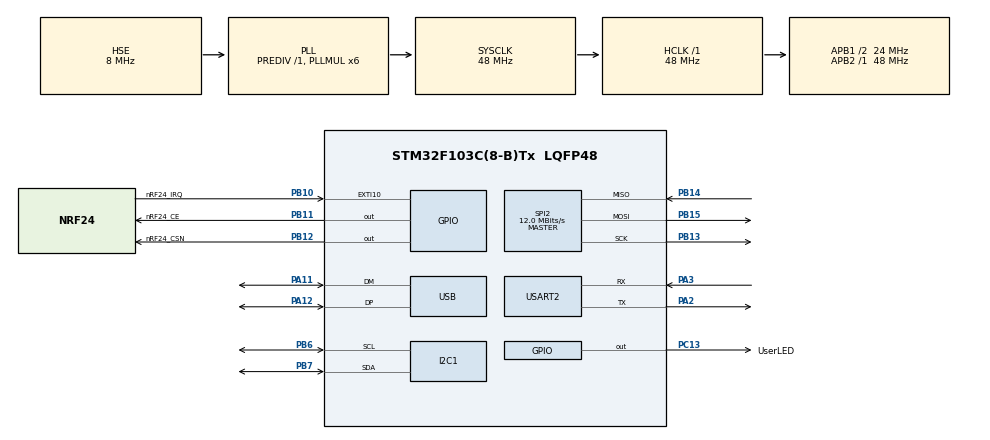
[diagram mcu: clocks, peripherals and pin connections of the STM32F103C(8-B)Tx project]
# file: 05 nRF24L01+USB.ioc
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Mcu.Family=STM32F1
Mcu.Name=STM32F103C(8-B)Tx
Mcu.Package=LQFP48
NVIC.EXTI15_10_IRQn=true\:0\:0\:false\:false\:true\:true\:true\:true
NVIC.PriorityGroup=NVIC_PRIORITYGROUP_4
NVIC.USB_LP_CAN1_RX0_IRQn=true\:0\:0\:false\:false\:true\:true\:true\:true
PA11.Mode=Device
PA11.Signal=USB_DM
PA12.Mode=Device
PA12.Signal=USB_DP
PA13.Mode=Serial_Wire
PA13.Signal=SYS_JTMS-SWDIO
PA14.Mode=Serial_Wire
PA14.Signal=SYS_JTCK-SWCLK
PA2.Mode=Asynchronous
PA2.Signal=USART2_TX
PA3.Mode=Asynchronous
PA3.Signal=USART2_RX
PB10.GPIO_Label=nRF24_IRQ
PB10.GPIO_ModeDefaultEXTI=GPIO_MODE_IT_FALLING
PB10.Signal=GPXTI10
PB11.GPIO_Label=nRF24_CE
PB11.GPIO_Speed=GPIO_SPEED_FREQ_HIGH
PB11.Signal=GPIO_Output
PB12.GPIO_Label=nRF24_CSN
PB12.GPIO_Speed=GPIO_SPEED_FREQ_HIGH
PB12.PinState=GPIO_PIN_SET
PB12.Signal=GPIO_Output
PB13.Mode=Full_Duplex_Master
PB13.Signal=SPI2_SCK
PB14.Mode=Full_Duplex_Master
PB14.Signal=SPI2_MISO
PB15.Mode=Full_Duplex_Master
PB15.Signal=SPI2_MOSI
PB6.GPIO_Pu=GPIO_PULLUP
PB6.Mode=I2C
PB6.Signal=I2C1_SCL
PB7.GPIO_Pu=GPIO_PULLUP
PB7.Mode=I2C
PB7.Signal=I2C1_SDA
PC13-TAMPER-RTC.GPIO_Label=UserLED
PC13-TAMPER-RTC.GPIO_Speed=GPIO_SPEED_FREQ_LOW
PC13-TAMPER-RTC.PinState=GPIO_PIN_SET
PC13-TAMPER-RTC.Signal=GPIO_Output
PD0-OSC_IN.Mode=HSE-External-Oscillator
PD0-OSC_IN.Signal=RCC_OSC_IN
PD1-OSC_OUT.Mode=HSE-External-Oscillator
PD1-OSC_OUT.Signal=RCC_OSC_OUT
ProjectManager.HeapSize=0x200
ProjectManager.StackSize=0x400
ProjectManager.TargetToolchain=STM32CubeIDE
RCC.AHBFreq_Value=48000000
RCC.APB1CLKDivider=RCC_HCLK_DIV2
RCC.APB1Freq_Value=24000000
RCC.APB1TimFreq_Value=48000000
RCC.APB2Freq_Value=48000000
RCC.APB2TimFreq_Value=48000000
RCC.HCLKFreq_Value=48000000
RCC.PLLMUL=RCC_PLL_MUL6
RCC.PLLSourceVirtual=RCC_PLLSOURCE_HSE
RCC.SYSCLKFreq_VALUE=48000000
RCC.SYSCLKSource=RCC_SYSCLKSOURCE_PLLCLK
RCC.USBFreq_Value=48000000
SPI2.BaudRatePrescaler=SPI_BAUDRATEPRESCALER_2
SPI2.CRCCalculation=SPI_CRCCALCULATION_DISABLE
SPI2.CalculateBaudRate=12.0 MBits/s
SPI2.Direction=SPI_DIRECTION_2LINES
SPI2.Mode=SPI_MODE_MASTER
SPI2.VirtualType=VM_MASTER
USART2.VirtualMode=VM_ASYNC
USB.ep0_mps=DEP0CTL_MPS_32
USB_DEVICE.CLASS_NAME_FS=CDC
USB_DEVICE.USBD_DEBUG_LEVEL=3
USB_DEVICE.VirtualMode=Cdc
USB_DEVICE.VirtualModeFS=Cdc_FS
VP_USB_DEVICE_VS_USB_DEVICE_CDC_FS.Mode=CDC_FS
board=nRF24L01WithUSB

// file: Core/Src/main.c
/* USER CODE BEGIN Header */
/**
  ******************************************************************************
  * @file           : main.c
  * @brief          : Main program body
  ******************************************************************************
  * @attention
  *
  * Copyright (c) 2025 STMicroelectronics.
  * All rights reserved.
  *
  * This software is licensed under terms that can be found in the LICENSE file
  * in the root directory of this software component.
  * If no LICENSE file comes with this software, it is provided AS-IS.
  *
  ******************************************************************************
  */
/* USER CODE END Header */
#include "main.h"
#include "i2c.h"
#include "spi.h"
#include "usart.h"
#include "usb_device.h"
#include "gpio.h"

/* USER CODE BEGIN Includes */

#include <Options.h>
#include "string.h"
#include "hd44780.h"
#include "nrf24.h"
#include "nRF24L01_Demos.h"
#include "uart.h"

/* USER CODE END Includes */

/* USER CODE BEGIN PV */
/* Private variables ---------------------------------------------------------*/

LCD_PCF8574_HandleTypeDef LCD;

/* USER CODE END PV */

void SystemClock_Config(void);
/* USER CODE BEGIN PFP */
/* Private function prototypes -----------------------------------------------*/

/* USER CODE END PFP */

/* USER CODE BEGIN 0 */

void SetLEDState(uint8_t On)
{
  HAL_GPIO_WritePin(UserLED_GPIO_Port, UserLED_Pin, On ? GPIO_PIN_RESET : GPIO_PIN_SET);
}

void ToggleLEDState()
{
  HAL_GPIO_TogglePin(UserLED_GPIO_Port, UserLED_Pin);
}

/* USER CODE END 0 */

int main(void)
{

  /* MCU Configuration--------------------------------------------------------*/

  /* Reset of all peripherals, Initializes the Flash interface and the Systick. */
  HAL_Init();

  /* Configure the system clock */
  SystemClock_Config();

  /* Initialize all configured peripherals */
  MX_GPIO_Init();
  MX_I2C1_Init();
  MX_SPI2_Init();
  MX_USART2_UART_Init();
  MX_USB_DEVICE_Init();
  /* USER CODE BEGIN 2 */

  UART_Handle = huart2;
  UART_SendStr("Communication established.\n");

    /* Initialize LCD */
#ifdef HasSmallLCD
  LCD.pcf8574.PCF_I2C_ADDRESS = 0x3F; // 0x3F; // Depends on display I2C module chip and board links. PCF8574=0x20-0x27. PCF8574A=0x38-0x3F. First display module = 0x3F. Seconddisplay module = 0x27.
  LCD.pcf8574.PCF_I2C_TIMEOUT = 1000;
  LCD.pcf8574.pI2C = &hi2c1;
  LCD.NUMBER_OF_LINES = NUMBER_OF_LINES_2;
  LCD.type = TYPE0;
  //
  if (LCD_Init(&LCD) != LCD_OK)
    Error_Handler();

  LCD_ClearDisplay(&LCD);
#endif

  nRF24L01_SPI_Handle = hspi2;
  nRF24L01_Init();

#ifdef TX
  TxSingle();
#endif
#ifdef RX
  RxSingle();
#endif

  /* USER CODE END 2 */

  /* Infinite loop */
  while (1)
  {

  }
}

void SystemClock_Config(void)
{
  RCC_OscInitTypeDef RCC_OscInitStruct = {0};
  RCC_ClkInitTypeDef RCC_ClkInitStruct = {0};
  RCC_PeriphCLKInitTypeDef PeriphClkInit = {0};

  /** Initializes the RCC Oscillators according to the specified parameters
  * in the RCC_OscInitTypeDef structure.
  */
  RCC_OscInitStruct.OscillatorType = RCC_OSCILLATORTYPE_HSE;
  RCC_OscInitStruct.HSEState = RCC_HSE_ON;
  RCC_OscInitStruct.HSEPredivValue = RCC_HSE_PREDIV_DIV1;
  RCC_OscInitStruct.HSIState = RCC_HSI_ON;
  RCC_OscInitStruct.PLL.PLLState = RCC_PLL_ON;
  RCC_OscInitStruct.PLL.PLLSource = RCC_PLLSOURCE_HSE;
  RCC_OscInitStruct.PLL.PLLMUL = RCC_PLL_MUL6;
  if (HAL_RCC_OscConfig(&RCC_OscInitStruct) != HAL_OK)
  {
    Error_Handler();
  }

  /** Initializes the CPU, AHB and APB buses clocks
  */
  RCC_ClkInitStruct.ClockType = RCC_CLOCKTYPE_HCLK|RCC_CLOCKTYPE_SYSCLK
                              |RCC_CLOCKTYPE_PCLK1|RCC_CLOCKTYPE_PCLK2;
  RCC_ClkInitStruct.SYSCLKSource = RCC_SYSCLKSOURCE_PLLCLK;
  RCC_ClkInitStruct.AHBCLKDivider = RCC_SYSCLK_DIV1;
  RCC_ClkInitStruct.APB1CLKDivider = RCC_HCLK_DIV2;
  RCC_ClkInitStruct.APB2CLKDivider = RCC_HCLK_DIV1;

  if (HAL_RCC_ClockConfig(&RCC_ClkInitStruct, FLASH_LATENCY_1) != HAL_OK)
  {
    Error_Handler();
  }
  PeriphClkInit.PeriphClockSelection = RCC_PERIPHCLK_USB;
  PeriphClkInit.UsbClockSelection = RCC_USBCLKSOURCE_PLL;
  if (HAL_RCCEx_PeriphCLKConfig(&PeriphClkInit) != HAL_OK)
  {
    Error_Handler();
  }
}

void Error_Handler(void)
{
  /* USER CODE BEGIN Error_Handler_Debug */
  while (1)
  {
    SetLEDState(1);
    HAL_Delay(100);
    SetLEDState(0);
    HAL_Delay(100);
    SetLEDState(1);
    HAL_Delay(100);
    SetLEDState(0);
    HAL_Delay(100);
    SetLEDState(1);
    HAL_Delay(100);
    SetLEDState(0);
    HAL_Delay(1000);
  }
  /* USER CODE END Error_Handler_Debug */
}
